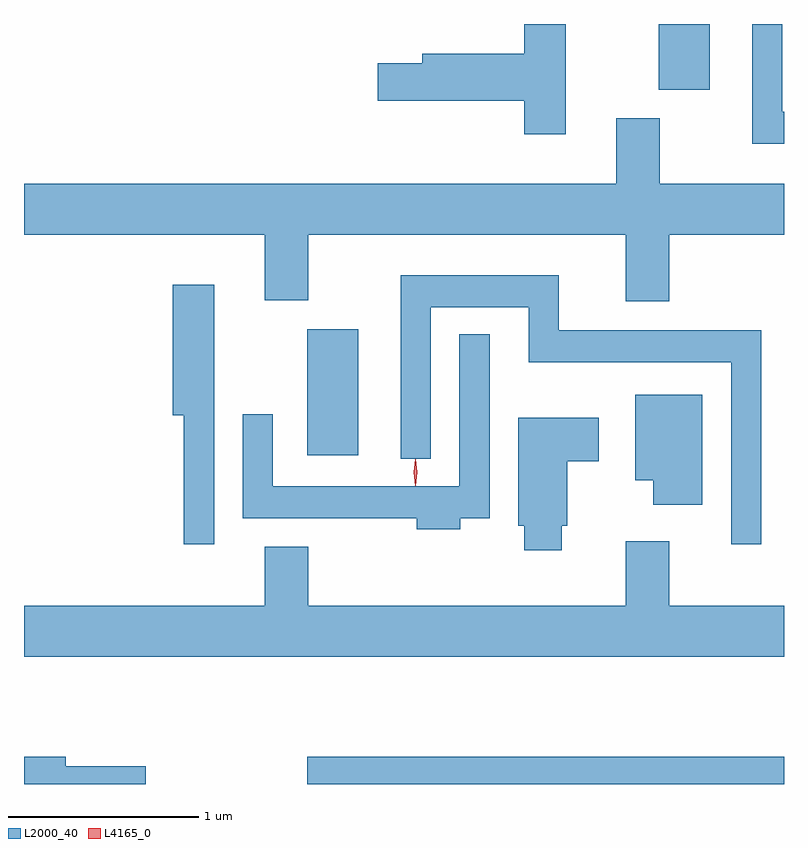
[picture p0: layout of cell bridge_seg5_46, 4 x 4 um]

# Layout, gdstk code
import gdstk
lib = gdstk.Library(unit=1e-6, precision=1e-09)
def R(c, l, rs):  # rectangles x0, y0, x1, y1
    for r in rs: c.add(gdstk.rectangle(r[:2], r[2:], *l))
def P(c, l, *ps):  # polygons
    for p in ps: c.add(gdstk.Polygon(p, *l))
L2000_40 = (2000, 40)
L4165_0 = (4165, 0)

bridge_seg5_46 = lib.new_cell('bridge_seg5_46')
R(bridge_seg5_46, L2000_40, [(1345.986,1467.226,1348.494,1467.369), (1345.986,1468.956,1346.254,1469.619), (1347.836,1470.881,1348.104,1471.226)])
P(bridge_seg5_46, L2000_40, [(1347.344,1471.226),(1347.126,1471.226),(1347.126,1471.069),(1346.591,1471.069),(1346.591,1471.019),(1346.356,1471.019),(1346.356,1470.821),(1347.126,1470.821),(1347.126,1470.646),(1347.344,1470.646)],
  [(1348.494,1470.764),(1348.484,1470.764),(1348.484,1471.226),(1348.326,1471.226),(1348.326,1470.596),(1348.494,1470.596)],
  [(1347.889,1470.116),(1348.494,1470.116),(1348.494,1470.384),(1347.839,1470.384),(1347.839,1470.729),(1347.611,1470.729),(1347.611,1470.384),(1344.494,1470.384),(1344.494,1470.116),(1345.761,1470.116),(1345.761,1469.771),(1345.989,1469.771),(1345.989,1470.116),(1347.661,1470.116),(1347.661,1469.766),(1347.889,1469.766)],
  [(1348.374,1469.614),(1347.309,1469.614),(1347.309,1469.904),(1346.476,1469.904),(1346.476,1468.938),(1346.634,1468.938),(1346.634,1469.736),(1347.151,1469.736),(1347.151,1469.446),(1348.216,1469.446),(1348.216,1468.488),(1348.374,1468.488)],
  [(1345.494,1469.854),(1345.276,1469.854),(1345.276,1469.166),(1345.336,1469.166),(1345.336,1468.488),(1345.494,1468.488)],
  [(1346.789,1468.626),(1346.944,1468.626),(1346.944,1469.593),(1346.786,1469.593),(1346.786,1468.794),(1345.804,1468.794),(1345.804,1469.173),(1345.646,1469.173),(1345.646,1468.626),(1346.561,1468.626),(1346.561,1468.566),(1346.789,1468.566)],
  [(1348.064,1469.274),(1347.711,1469.274),(1347.711,1468.826),(1347.806,1468.826),(1347.806,1468.696),(1348.064,1468.696)],
  [(1347.324,1468.586),(1347.354,1468.586),(1347.354,1468.926),(1347.519,1468.926),(1347.519,1469.154),(1347.096,1469.154),(1347.096,1468.586),(1347.126,1468.586),(1347.126,1468.456),(1347.324,1468.456)],
  [(1348.494,1468.164),(1347.889,1468.164),(1347.889,1468.504),(1347.661,1468.504),(1347.661,1468.164),(1345.989,1468.164),(1345.989,1468.474),(1345.761,1468.474),(1345.761,1468.164),(1344.494,1468.164),(1344.494,1467.896),(1348.494,1467.896)],
  [(1345.134,1467.319),(1344.714,1467.319),(1344.714,1467.369),(1344.494,1467.369),(1344.494,1467.226),(1345.134,1467.226)])
P(bridge_seg5_46, L4165_0, [(1346.554,1468.797),(1346.545,1468.866),(1346.554,1468.936),(1346.555,1468.936),(1346.555,1468.936),(1346.565,1468.866),(1346.555,1468.797),(1346.555,1468.797)],
  [(1346.554,1468.799),(1346.553,1468.8),(1346.544,1468.866),(1346.553,1468.932),(1346.554,1468.933),(1346.554,1468.932),(1346.564,1468.866),(1346.554,1468.8)])

lib.write_gds('bridge_seg5_46.gds')
